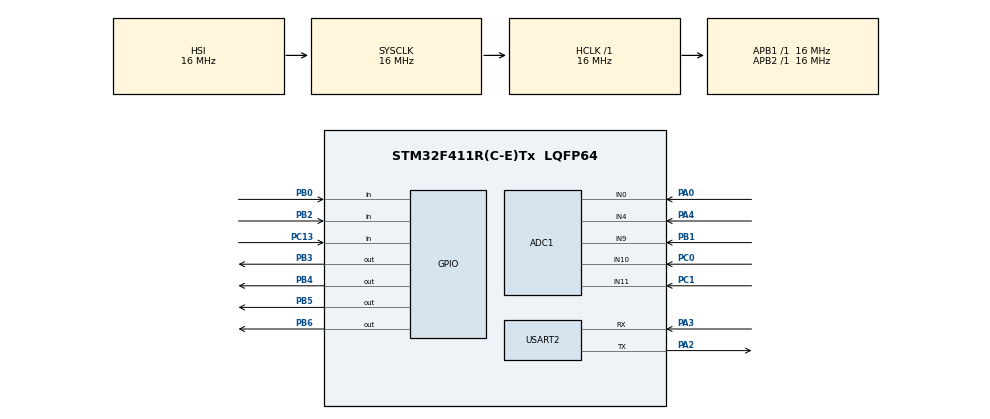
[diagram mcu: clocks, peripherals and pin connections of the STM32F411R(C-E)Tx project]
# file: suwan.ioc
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ADC1.Channel-5\#ChannelRegularConversion=ADC_CHANNEL_0
ADC1.Channel-6\#ChannelRegularConversion=ADC_CHANNEL_0
ADC1.EOCSelection=ADC_EOC_SINGLE_CONV
ADC1.NbrOfConversion=2
ADC1.NbrOfConversionFlag=1
ADC1.Rank-5\#ChannelRegularConversion=1
ADC1.Rank-6\#ChannelRegularConversion=2
ADC1.SamplingTime-5\#ChannelRegularConversion=ADC_SAMPLETIME_3CYCLES
ADC1.SamplingTime-6\#ChannelRegularConversion=ADC_SAMPLETIME_3CYCLES
ADC1.master=1
Mcu.Family=STM32F4
Mcu.Name=STM32F411R(C-E)Tx
Mcu.Package=LQFP64
NVIC.PriorityGroup=NVIC_PRIORITYGROUP_4
PA0-WKUP.Signal=ADCx_IN0
PA10.Signal=USART1_RX
PA13.Mode=Serial_Wire
PA13.Signal=SYS_JTMS-SWDIO
PA14.Mode=Serial_Wire
PA14.Signal=SYS_JTCK-SWCLK
PA2.Mode=Asynchronous
PA2.Signal=USART2_TX
PA3.Mode=Asynchronous
PA3.Signal=USART2_RX
PA4.Signal=ADCx_IN4
PA9.Signal=USART1_TX
PB0.GPIO_PuPd=GPIO_PULLUP
PB0.Signal=GPIO_Input
PB1.Signal=ADCx_IN9
PB2.GPIO_PuPd=GPIO_PULLUP
PB2.Signal=GPIO_Input
PB3.Signal=GPIO_Output
PB4.Signal=GPIO_Output
PB5.Signal=GPIO_Output
PB6.Signal=GPIO_Output
PC0.Signal=ADCx_IN10
PC1.Signal=ADCx_IN11
PC13-ANTI_TAMP.Signal=GPIO_Input
PH0\ -\ OSC_IN.Mode=HSE-External-Oscillator
PH0\ -\ OSC_IN.Signal=RCC_OSC_IN
PH1\ -\ OSC_OUT.Mode=HSE-External-Oscillator
PH1\ -\ OSC_OUT.Signal=RCC_OSC_OUT
ProjectManager.HeapSize=0x200
ProjectManager.StackSize=0x400
ProjectManager.TargetToolchain=STM32CubeIDE
RCC.AHBFreq_Value=16000000
RCC.APB1Freq_Value=16000000
RCC.APB2Freq_Value=16000000
RCC.CortexFreq_Value=16000000
RCC.HSE_VALUE=25000000
RCC.HSI_VALUE=16000000
RCC.LSE_VALUE=32768
RCC.SYSCLKFreq_VALUE=16000000
RCC.VCOOutputFreq_Value=192000000
SH.ADCx_IN0.0=ADC1_IN0,IN0
SH.ADCx_IN10.0=ADC1_IN10,IN10
SH.ADCx_IN11.0=ADC1_IN11,IN11
SH.ADCx_IN4.0=ADC1_IN4,IN4
SH.ADCx_IN9.0=ADC1_IN9,IN9
USART2.VirtualMode=VM_ASYNC
board=custom

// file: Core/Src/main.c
/* USER CODE BEGIN Header */
/**
  ******************************************************************************
  * @file           : main.c
  * @brief          : Main program body
  ******************************************************************************
  * @attention
  *
  * Copyright (c) 2026 STMicroelectronics.
  * All rights reserved.
  *
  * This software is licensed under terms that can be found in the LICENSE file
  * in the root directory of this software component.
  * If no LICENSE file comes with this software, it is provided AS-IS.
  *
  ******************************************************************************
  */
/* USER CODE END Header */
#include "main.h"
#include "adc.h"
#include "usart.h"
#include "gpio.h"

/* USER CODE BEGIN Includes */

#include <stdio.h>
/* USER CODE END Includes */

/* USER CODE BEGIN PV */
uint32_t mux_adc[16] = {0};
uint32_t adc_ind[4] = {0};
uint8_t sw0 = 0;
uint8_t sw1 = 0;
char msg[256];

uint8_t sw0_toggle = 0;
uint8_t sw1_toggle = 0;

uint8_t sw0_prev = 1;
uint8_t sw1_prev = 1;

/* USER CODE END PV */

void SystemClock_Config(void);

/* USER CODE BEGIN 0 */
void MUX_Select(uint8_t ch)
{
    HAL_GPIO_WritePin(GPIOB, GPIO_PIN_3, (ch >> 0) & 0x01);
    HAL_GPIO_WritePin(GPIOB, GPIO_PIN_4, (ch >> 1) & 0x01);
    HAL_GPIO_WritePin(GPIOB, GPIO_PIN_5, (ch >> 2) & 0x01);
    HAL_GPIO_WritePin(GPIOB, GPIO_PIN_6, (ch >> 3) & 0x01);
}

void Read_MUX_ADC(uint8_t mux_ch, uint32_t *value)
{
    ADC_ChannelConfTypeDef sConfig = {0};

    // 1. MUX Channel selection
    MUX_Select(mux_ch);

    // 2. time
    for (volatile int i = 0; i < 300; i++);

    // 3. ADC == PA0 fix
    sConfig.Channel = ADC_CHANNEL_0;
    sConfig.Rank = 1;
    sConfig.SamplingTime = ADC_SAMPLETIME_84CYCLES;
    sConfig.Offset = 0;

    HAL_ADC_ConfigChannel(&hadc1, &sConfig);

    // 4. ADC transmitter
    HAL_ADC_Start(&hadc1);
    HAL_ADC_PollForConversion(&hadc1, HAL_MAX_DELAY);
    *value = HAL_ADC_GetValue(&hadc1);
    HAL_ADC_Stop(&hadc1);
}

void Read_ADC_Channel(uint32_t channel, uint32_t *value)
{
    ADC_ChannelConfTypeDef sConfig = {0};

    sConfig.Channel = channel;
    sConfig.Rank = 1;
    sConfig.SamplingTime = ADC_SAMPLETIME_84CYCLES;
    sConfig.Offset = 0;

    HAL_ADC_ConfigChannel(&hadc1, &sConfig);

    HAL_ADC_Start(&hadc1);
    HAL_ADC_PollForConversion(&hadc1, HAL_MAX_DELAY);
    *value = HAL_ADC_GetValue(&hadc1);
    HAL_ADC_Stop(&hadc1);
}
/* USER CODE END 0 */

int main(void)
{

  /* MCU Configuration--------------------------------------------------------*/

  /* Reset of all peripherals, Initializes the Flash interface and the Systick. */
  HAL_Init();

  /* Configure the system clock */
  SystemClock_Config();

  /* Initialize all configured peripherals */
  MX_GPIO_Init();
  MX_ADC1_Init();
  MX_USART2_UART_Init();
  /* USER CODE BEGIN 2 */
  HAL_GPIO_WritePin(GPIOB,
       GPIO_PIN_3 | GPIO_PIN_4 | GPIO_PIN_5 | GPIO_PIN_6,
       GPIO_PIN_RESET);
  /* USER CODE END 2 */

  /* Infinite loop */
  while (1)
  {

    /* USER CODE BEGIN 3 */
	  for (uint8_t i = 0; i < 16; i++)
	         {
	             Read_MUX_ADC(i, &mux_adc[i]);
	         }
	  Read_ADC_Channel(ADC_CHANNEL_9, &adc_ind[0]);   // PB1
	  Read_ADC_Channel(ADC_CHANNEL_10, &adc_ind[1]);  // PC0
	  Read_ADC_Channel(ADC_CHANNEL_11, &adc_ind[2]);   // PC1
	  Read_ADC_Channel(ADC_CHANNEL_4, &adc_ind[3]); // PA4

	  sw0 = (HAL_GPIO_ReadPin(GPIOB, GPIO_PIN_2) == GPIO_PIN_SET);
	  sw1 = (HAL_GPIO_ReadPin(GPIOB, GPIO_PIN_0) == GPIO_PIN_SET);

	  /* PB2 */
	  if (sw0_prev == 1 && sw0 == 0)
	  {
	      sw0_toggle ^= 1;
	  }
	  sw0_prev = sw0;

	  /* PB10 */
	  if (sw1_prev == 1 && sw1 == 0)
	  {
	      sw1_toggle ^= 1;
	  }
	  sw1_prev = sw1;

	  int len = sprintf(msg,
	  "%lu,%lu,%lu,%lu,%lu,%lu,%lu,%lu,%lu,%lu,%lu,%lu,%lu,%lu,%lu,%lu,%lu,%lu,%lu,%lu,%u,%u\r\n",

	  mux_adc[0], mux_adc[1], mux_adc[2], mux_adc[3],
	  mux_adc[4], mux_adc[5], mux_adc[6], mux_adc[7],
	  mux_adc[8], mux_adc[9], mux_adc[10], mux_adc[11],
	  mux_adc[12], mux_adc[13], mux_adc[14], mux_adc[15],

	  adc_ind[0], adc_ind[1], adc_ind[2], adc_ind[3],

	  sw0_toggle, sw1_toggle);

	  HAL_UART_Transmit(
	      &huart2,
	      (uint8_t*)msg,
	      len,
	      HAL_MAX_DELAY
	  );

	  HAL_Delay(10);
  }
  /* USER CODE END 3 */
}

void SystemClock_Config(void)
{
  RCC_OscInitTypeDef RCC_OscInitStruct = {0};
  RCC_ClkInitTypeDef RCC_ClkInitStruct = {0};

  /** Configure the main internal regulator output voltage
  */
  __HAL_RCC_PWR_CLK_ENABLE();
  __HAL_PWR_VOLTAGESCALING_CONFIG(PWR_REGULATOR_VOLTAGE_SCALE1);

  /** Initializes the RCC Oscillators according to the specified parameters
  * in the RCC_OscInitTypeDef structure.
  */
  RCC_OscInitStruct.OscillatorType = RCC_OSCILLATORTYPE_HSI;
  RCC_OscInitStruct.HSIState = RCC_HSI_ON;
  RCC_OscInitStruct.HSICalibrationValue = RCC_HSICALIBRATION_DEFAULT;
  RCC_OscInitStruct.PLL.PLLState = RCC_PLL_NONE;
  if (HAL_RCC_OscConfig(&RCC_OscInitStruct) != HAL_OK)
  {
    Error_Handler();
  }

  /** Initializes the CPU, AHB and APB buses clocks
  */
  RCC_ClkInitStruct.ClockType = RCC_CLOCKTYPE_HCLK|RCC_CLOCKTYPE_SYSCLK
                              |RCC_CLOCKTYPE_PCLK1|RCC_CLOCKTYPE_PCLK2;
  RCC_ClkInitStruct.SYSCLKSource = RCC_SYSCLKSOURCE_HSI;
  RCC_ClkInitStruct.AHBCLKDivider = RCC_SYSCLK_DIV1;
  RCC_ClkInitStruct.APB1CLKDivider = RCC_HCLK_DIV1;
  RCC_ClkInitStruct.APB2CLKDivider = RCC_HCLK_DIV1;

  if (HAL_RCC_ClockConfig(&RCC_ClkInitStruct, FLASH_LATENCY_0) != HAL_OK)
  {
    Error_Handler();
  }
}

void Error_Handler(void)
{
  __disable_irq();
  while (1)
  {
  }
}
